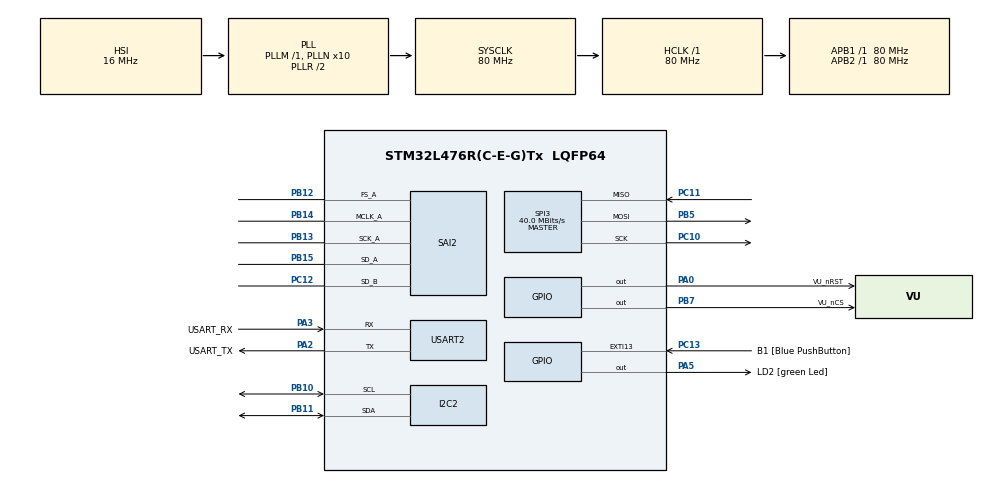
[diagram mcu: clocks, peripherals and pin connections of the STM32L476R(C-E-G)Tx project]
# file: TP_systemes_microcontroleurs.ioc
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Dma.Request0=SAI2_A
Dma.Request1=SAI2_B
Dma.SAI2_A.0.Direction=DMA_MEMORY_TO_PERIPH
Dma.SAI2_A.0.Instance=DMA1_Channel6
Dma.SAI2_A.0.MemDataAlignment=DMA_MDATAALIGN_WORD
Dma.SAI2_A.0.MemInc=DMA_MINC_ENABLE
Dma.SAI2_A.0.Mode=DMA_CIRCULAR
Dma.SAI2_A.0.PeriphDataAlignment=DMA_PDATAALIGN_WORD
Dma.SAI2_A.0.PeriphInc=DMA_PINC_DISABLE
Dma.SAI2_A.0.Priority=DMA_PRIORITY_LOW
Dma.SAI2_B.1.Direction=DMA_PERIPH_TO_MEMORY
Dma.SAI2_B.1.Instance=DMA1_Channel7
Dma.SAI2_B.1.MemDataAlignment=DMA_MDATAALIGN_WORD
Dma.SAI2_B.1.MemInc=DMA_MINC_ENABLE
Dma.SAI2_B.1.Mode=DMA_CIRCULAR
Dma.SAI2_B.1.PeriphDataAlignment=DMA_PDATAALIGN_WORD
Dma.SAI2_B.1.PeriphInc=DMA_PINC_DISABLE
Dma.SAI2_B.1.Priority=DMA_PRIORITY_LOW
I2C2.Timing=0x10D19CE4
Mcu.Family=STM32L4
Mcu.Name=STM32L476R(C-E-G)Tx
Mcu.Package=LQFP64
NVIC.DMA1_Channel6_IRQn=true\:0\:0\:false\:false\:true\:false\:true\:true
NVIC.DMA1_Channel7_IRQn=true\:0\:0\:false\:false\:true\:false\:true\:true
NVIC.PriorityGroup=NVIC_PRIORITYGROUP_4
NVIC.SAI2_IRQn=true\:0\:0\:false\:false\:true\:true\:true\:true
PA0.GPIO_Label=VU_nRST
PA0.Signal=GPIO_Output
PA13\ (JTMS-SWDIO).GPIO_Label=TMS
PA13\ (JTMS-SWDIO).Mode=Serial_Wire
PA13\ (JTMS-SWDIO).Signal=SYS_JTMS-SWDIO
PA14\ (JTCK-SWCLK).GPIO_Label=TCK
PA14\ (JTCK-SWCLK).Mode=Serial_Wire
PA14\ (JTCK-SWCLK).Signal=SYS_JTCK-SWCLK
PA2.GPIO_Label=USART_TX
PA2.GPIO_Mode=GPIO_MODE_AF_PP
PA2.GPIO_PuPd=GPIO_NOPULL
PA2.GPIO_Speed=GPIO_SPEED_FREQ_VERY_HIGH
PA2.Mode=Asynchronous
PA2.Signal=USART2_TX
PA3.GPIO_Label=USART_RX
PA3.GPIO_Mode=GPIO_MODE_AF_PP
PA3.GPIO_PuPd=GPIO_NOPULL
PA3.GPIO_Speed=GPIO_SPEED_FREQ_VERY_HIGH
PA3.Mode=Asynchronous
PA3.Signal=USART2_RX
PA5.GPIO_Label=LD2 [green Led]
PA5.GPIO_ModeDefaultOutputPP=GPIO_MODE_OUTPUT_PP
PA5.GPIO_PuPd=GPIO_NOPULL
PA5.GPIO_Speed=GPIO_SPEED_FREQ_LOW
PA5.Signal=GPIO_Output
PB10.Mode=I2C
PB10.Signal=I2C2_SCL
PB11.Mode=I2C
PB11.Signal=I2C2_SDA
PB12.Mode=SAI_A_MasterWithClock
PB12.Signal=SAI2_FS_A
PB13.Mode=SAI_A_MasterWithClock
PB13.Signal=SAI2_SCK_A
PB14.Mode=SAI_A_MasterWithClock
PB14.Signal=SAI2_MCLK_A
PB15.Mode=SAI_A_MasterWithClock
PB15.Signal=SAI2_SD_A
PB3\ (JTDO-TRACESWO).GPIO_Label=SWO
PB3\ (JTDO-TRACESWO).Signal=SYS_JTDO-SWO
PB5.Mode=Full_Duplex_Master
PB5.Signal=SPI3_MOSI
PB7.GPIO_Label=VU_nCS
PB7.Signal=GPIO_Output
PC10.Mode=Full_Duplex_Master
PC10.Signal=SPI3_SCK
PC11.Mode=Full_Duplex_Master
PC11.Signal=SPI3_MISO
PC12.Mode=SAI_B_SyncSlave
PC12.Signal=SAI2_SD_B
PC13.GPIO_Label=B1 [Blue PushButton]
PC13.GPIO_ModeDefaultEXTI=GPIO_MODE_IT_FALLING
PC13.GPIO_PuPd=GPIO_NOPULL
PC13.Signal=GPXTI13
PC14-OSC32_IN\ (PC14).Mode=LSE-External-Oscillator
PC14-OSC32_IN\ (PC14).Signal=RCC_OSC32_IN
PC15-OSC32_OUT\ (PC15).Mode=LSE-External-Oscillator
PC15-OSC32_OUT\ (PC15).Signal=RCC_OSC32_OUT
PH0-OSC_IN\ (PH0).Signal=RCC_OSC_IN
PH1-OSC_OUT\ (PH1).Signal=RCC_OSC_OUT
ProjectManager.HeapSize=0x200
ProjectManager.StackSize=0x400
ProjectManager.TargetToolchain=STM32CubeIDE
RCC.ADCFreq_Value=104000000
RCC.AHBFreq_Value=80000000
RCC.APB1Freq_Value=80000000
RCC.APB1TimFreq_Value=80000000
RCC.APB2Freq_Value=80000000
RCC.APB2TimFreq_Value=80000000
RCC.CortexFreq_Value=80000000
RCC.HCLKFreq_Value=80000000
RCC.HSE_VALUE=8000000
RCC.HSI_VALUE=16000000
RCC.MSI_VALUE=4000000
RCC.PLLN=10
RCC.PLLSAI1N=13
RCC.PLLSAI1P=RCC_PLLP_DIV17
RCC.PLLSourceVirtual=RCC_PLLSOURCE_HSI
RCC.PREFETCH_ENABLE=1
RCC.SYSCLKFreq_VALUE=80000000
RCC.SYSCLKSource=RCC_SYSCLKSOURCE_PLLCLK
RCC.USBFreq_Value=104000000
RCC.VCOOutputFreq_Value=160000000
SAI2.AudioFrequency-SAI_A_MasterWithClock=SAI_AUDIO_FREQUENCY_48K
SAI2.ErrorAudioFreq-SAI_A_MasterWithClock=-0.42 %
SAI2.InitProtocol-SAI_A_MasterWithClock=Enable
SAI2.InitProtocol-SAI_B_SyncSlave=Enable
SAI2.Instance-SAI_A_MasterWithClock=SAI$Index_Block_A
SAI2.Instance-SAI_B_SyncSlave=SAI$Index_Block_B
SAI2.MClockEnable-SAI_A_MasterWithClock=SAI_MASTERCLOCK_ENABLE
SAI2.RealAudioFreq-SAI_A_MasterWithClock=47.794 KHz
SAI2.VirtualMode-SAI_A_MasterWithClock=VM_MASTER
SAI2.VirtualMode-SAI_B_SyncSlave=VM_SLAVE
SAI2.VirtualProtocol-SAI_A_BASIC=VM_BASIC_PROTOCOL
SAI2.VirtualProtocol-SAI_B_BASIC=VM_BASIC_PROTOCOL
SPI3.CalculateBaudRate=40.0 MBits/s
SPI3.DataSize=SPI_DATASIZE_8BIT
SPI3.Direction=SPI_DIRECTION_2LINES
SPI3.Mode=SPI_MODE_MASTER
SPI3.VirtualType=VM_MASTER
USART2.VirtualMode-Asynchronous=VM_ASYNC
VP_SAI2_VP_$IpInstance_SAIA_SAI_BASIC.Mode=SAI_A_BASIC
VP_SAI2_VP_$IpInstance_SAIB_SAI_BASIC.Mode=SAI_B_BASIC
board=NUCLEO-L476RG

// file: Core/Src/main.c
/* USER CODE BEGIN Header */
/**
 ******************************************************************************
 * @file           : main.c
 * @brief          : Main program body
 ******************************************************************************
 * @attention
 *
 * Copyright (c) 2025 STMicroelectronics.
 * All rights reserved.
 *
 * This software is licensed under terms that can be found in the LICENSE file
 * in the root directory of this software component.
 * If no LICENSE file comes with this software, it is provided AS-IS.
 *
 ******************************************************************************
 */
/* USER CODE END Header */
#include "main.h"
#include "dma.h"
#include "i2c.h"
#include "sai.h"
#include "spi.h"
#include "usart.h"
#include "gpio.h"

/* USER CODE BEGIN Includes */
#include "driver_led.h"
#include "sgtl5000.h"
/* USER CODE END Includes */

void SystemClock_Config(void);
void PeriphCommonClock_Config(void);

/* USER CODE BEGIN 0 */
int __io_putchar(int chr)
{
	HAL_UART_Transmit(&huart2, (uint8_t *)&chr, 1, HAL_MAX_DELAY);

	return chr;
}

void MCP23S17_Chenillard()
{
	uint16_t idx = 0;

	for(;;) {
		DriverLED_WriteLED(&hDriverLed, idx);
		idx = idx << 1;
		if(idx==0) idx = 1;
		HAL_Delay(500);
	}
}

/* USER CODE END 0 */

int main(void)
{

	/* MCU Configuration--------------------------------------------------------*/

	/* Reset of all peripherals, Initializes the Flash interface and the Systick. */
	HAL_Init();

	/* Configure the system clock */
	SystemClock_Config();

	/* Configure the peripherals common clocks */
	PeriphCommonClock_Config();

	/* Initialize all configured peripherals */
	MX_GPIO_Init();
	MX_DMA_Init();
	MX_USART2_UART_Init();
	MX_SPI3_Init();
	MX_SAI2_Init();
	MX_I2C2_Init();
	/* USER CODE BEGIN 2 */
	__HAL_SAI_ENABLE(&hsai_BlockA2); // Activation horloge MCLK

	uint8_t chip_id_value = 0;
	HAL_StatusTypeDef status = HAL_I2C_Mem_Read(&hi2c2, CODEC_ADDR, CHIP_ID, I2C_MEMADD_SIZE_16BIT, &chip_id_value, sizeof(chip_id_value), HAL_MAX_DELAY);
	if (status == HAL_OK)
		printf("OK : %d\r\n", chip_id_value); // Affiche 160
	else
		printf("PAS OK : %d\r\n", chip_id_value);

	SGTL5000_Init(&hi2c2);

	//uint8_t sai;
	//HAL_SAI_Receive_DMA(&hsai_BlockA2, &sai, 1);
	//HAL_SAI_Transmit_DMA(&hsai_BlockA2, &sai, 1);

	if(HAL_OK != DriverLED_Init(&hDriverLed, &hspi3, VU_nCS_GPIO_Port, VU_nCS_Pin, VU_nRST_GPIO_Port, VU_nRST_Pin)){
		while(1);
	}

	//uint8_t uart2_chr;
	//HAL_UART_Receive(&huart2, &uart2_chr, 1, HAL_MAX_DELAY); // Pour autoriser la 1ère réception

	//char buffer[5];
	//uint8_t index = 0;
	/* USER CODE END 2 */

	/* Infinite loop */
	/* USER CODE BEGIN WHILE */
	while (1)
	{
		// ---------- Ecriture I2C ----------
		uint8_t reg_address = 0x0000;     // Adresse du registre à écrire
		uint16_t data_to_write = 0x1234;  // Données à écrire

		if (SGTL5000_WriteReg(&hi2c2, reg_address, data_to_write) == HAL_OK) {
			printf("Ecriture reussie\r\n");
		} else {
			printf("Erreur ecriture\r\n");
		}
		HAL_Delay(2000);

		// ---------- Q3 ----------
		// HAL_UART_Transmit(&huart2, "Hello world\r\n", 13, 100);

		// ----------Q4 ----------
		//printf("Hello world\r\n");
		//HAL_Delay(1000);

		//HAL_GPIO_TogglePin(GPIOA, GPIO_PIN_5);
		//HAL_Delay(1000);

		//MCP23S17_Chenillard(500);

		// ---------- DRIVER DE LEDS ----------
		/*
		HAL_UART_Transmit(&huart2, (uint8_t *)&uart2_chr, 1, HAL_MAX_DELAY); // écho
		HAL_UART_Receive(&huart2, &uart2_chr, 1, HAL_MAX_DELAY); // Pour ré-autoriser, à chaque fois, la réception

		if (uart2_chr == '\r') // Si l'utilisateur appuie sur "Entrée"
		{
			index = 0; // Réinitialise l'index pour la prochaine saisie

			uint16_t value_led = (uint16_t)strtol(buffer, NULL, 16);
			DriverLED_WriteLED(&hDriverLed, value_led);
		}
		else
		{
			buffer[index++] = uart2_chr; // Stocke le caractère
			if (index >= sizeof(buffer) - 1) index = 0; // Évite le dépassement de tableau
		}
		*/
		/* USER CODE END WHILE */

	}
}

void SystemClock_Config(void)
{
	RCC_OscInitTypeDef RCC_OscInitStruct = {0};
	RCC_ClkInitTypeDef RCC_ClkInitStruct = {0};

	/** Configure the main internal regulator output voltage
	 */
	if (HAL_PWREx_ControlVoltageScaling(PWR_REGULATOR_VOLTAGE_SCALE1) != HAL_OK)
	{
		Error_Handler();
	}

	/** Initializes the RCC Oscillators according to the specified parameters
	 * in the RCC_OscInitTypeDef structure.
	 */
	RCC_OscInitStruct.OscillatorType = RCC_OSCILLATORTYPE_HSI;
	RCC_OscInitStruct.HSIState = RCC_HSI_ON;
	RCC_OscInitStruct.HSICalibrationValue = RCC_HSICALIBRATION_DEFAULT;
	RCC_OscInitStruct.PLL.PLLState = RCC_PLL_ON;
	RCC_OscInitStruct.PLL.PLLSource = RCC_PLLSOURCE_HSI;
	RCC_OscInitStruct.PLL.PLLM = 1;
	RCC_OscInitStruct.PLL.PLLN = 10;
	RCC_OscInitStruct.PLL.PLLP = RCC_PLLP_DIV7;
	RCC_OscInitStruct.PLL.PLLQ = RCC_PLLQ_DIV2;
	RCC_OscInitStruct.PLL.PLLR = RCC_PLLR_DIV2;
	if (HAL_RCC_OscConfig(&RCC_OscInitStruct) != HAL_OK)
	{
		Error_Handler();
	}

	/** Initializes the CPU, AHB and APB buses clocks
	 */
	RCC_ClkInitStruct.ClockType = RCC_CLOCKTYPE_HCLK|RCC_CLOCKTYPE_SYSCLK
			|RCC_CLOCKTYPE_PCLK1|RCC_CLOCKTYPE_PCLK2;
	RCC_ClkInitStruct.SYSCLKSource = RCC_SYSCLKSOURCE_PLLCLK;
	RCC_ClkInitStruct.AHBCLKDivider = RCC_SYSCLK_DIV1;
	RCC_ClkInitStruct.APB1CLKDivider = RCC_HCLK_DIV1;
	RCC_ClkInitStruct.APB2CLKDivider = RCC_HCLK_DIV1;

	if (HAL_RCC_ClockConfig(&RCC_ClkInitStruct, FLASH_LATENCY_4) != HAL_OK)
	{
		Error_Handler();
	}
}

void PeriphCommonClock_Config(void)
{
	RCC_PeriphCLKInitTypeDef PeriphClkInit = {0};

	/** Initializes the peripherals clock
	 */
	PeriphClkInit.PeriphClockSelection = RCC_PERIPHCLK_SAI2;
	PeriphClkInit.Sai2ClockSelection = RCC_SAI2CLKSOURCE_PLLSAI1;
	PeriphClkInit.PLLSAI1.PLLSAI1Source = RCC_PLLSOURCE_HSI;
	PeriphClkInit.PLLSAI1.PLLSAI1M = 1;
	PeriphClkInit.PLLSAI1.PLLSAI1N = 13;
	PeriphClkInit.PLLSAI1.PLLSAI1P = RCC_PLLP_DIV17;
	PeriphClkInit.PLLSAI1.PLLSAI1Q = RCC_PLLQ_DIV2;
	PeriphClkInit.PLLSAI1.PLLSAI1R = RCC_PLLR_DIV2;
	PeriphClkInit.PLLSAI1.PLLSAI1ClockOut = RCC_PLLSAI1_SAI1CLK;
	if (HAL_RCCEx_PeriphCLKConfig(&PeriphClkInit) != HAL_OK)
	{
		Error_Handler();
	}
}

void Error_Handler(void)
{
	__disable_irq();
	while (1)
	{
	}
}
